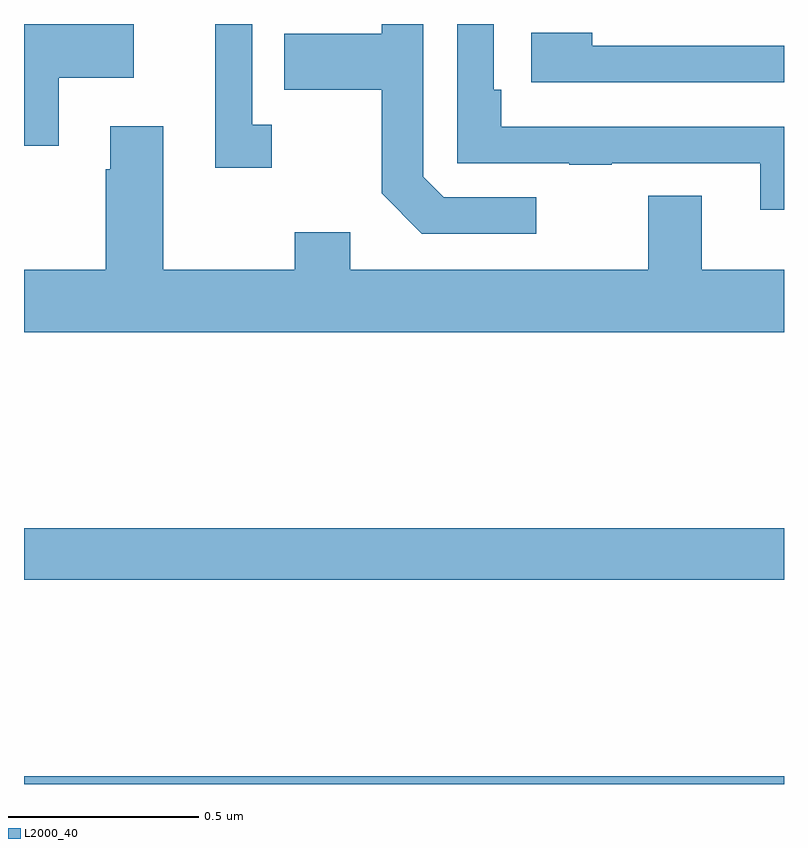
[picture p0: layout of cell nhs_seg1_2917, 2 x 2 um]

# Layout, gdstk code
import gdstk
lib = gdstk.Library(unit=1e-6, precision=1e-09)
def R(c, l, rs):  # rectangles x0, y0, x1, y1
    for r in rs: c.add(gdstk.rectangle(r[:2], r[2:], *l))
def P(c, l, *ps):  # polygons
    for p in ps: c.add(gdstk.Polygon(p, *l))
L2000_40 = (2000, 40)

nhs_seg1_2917 = lib.new_cell('nhs_seg1_2917')
R(nhs_seg1_2917, L2000_40, [(147,561.199,149,561.22), (147,561.736,149,561.872)])
P(nhs_seg1_2917, L2000_40, [(147.091,563.057),(147.289,563.057),(147.289,563.199),(147,563.199),(147,562.878),(147.091,562.878)],
  [(147.652,562.934),(147.6,562.934),(147.6,563.199),(147.503,563.199),(147.503,562.821),(147.652,562.821)],
  [(148.348,562.743),(148.104,562.743),(148.05,562.797),(148.05,563.199),(147.942,563.199),(147.942,563.173),(147.685,563.173),(147.685,563.026),(147.942,563.026),(147.942,562.753),(148.047,562.647),(148.348,562.647)],
  [(149,562.928),(148.931,562.928),(148.931,562.929),(148.256,562.929),(148.256,563.026),(148.236,563.026),(148.236,563.199),(148.14,563.199),(148.14,562.833),(148.435,562.833),(148.435,562.828),(148.547,562.828),(148.547,562.833),(148.937,562.833),(148.937,562.71),(149,562.71)],
  [(149,563.142),(148.496,563.142),(148.496,563.176),(148.335,563.176),(148.335,563.046),(149,563.046)],
  [(149,562.552),(148.783,562.552),(148.783,562.747),(148.643,562.747),(148.643,562.552),(147.859,562.552),(147.859,562.651),(147.712,562.651),(147.712,562.552),(147.367,562.552),(147.367,562.93),(147.227,562.93),(147.227,562.817),(147.215,562.817),(147.215,562.552),(147,562.552),(147,562.388),(149,562.388)])

lib.write_gds('nhs_seg1_2917.gds')
